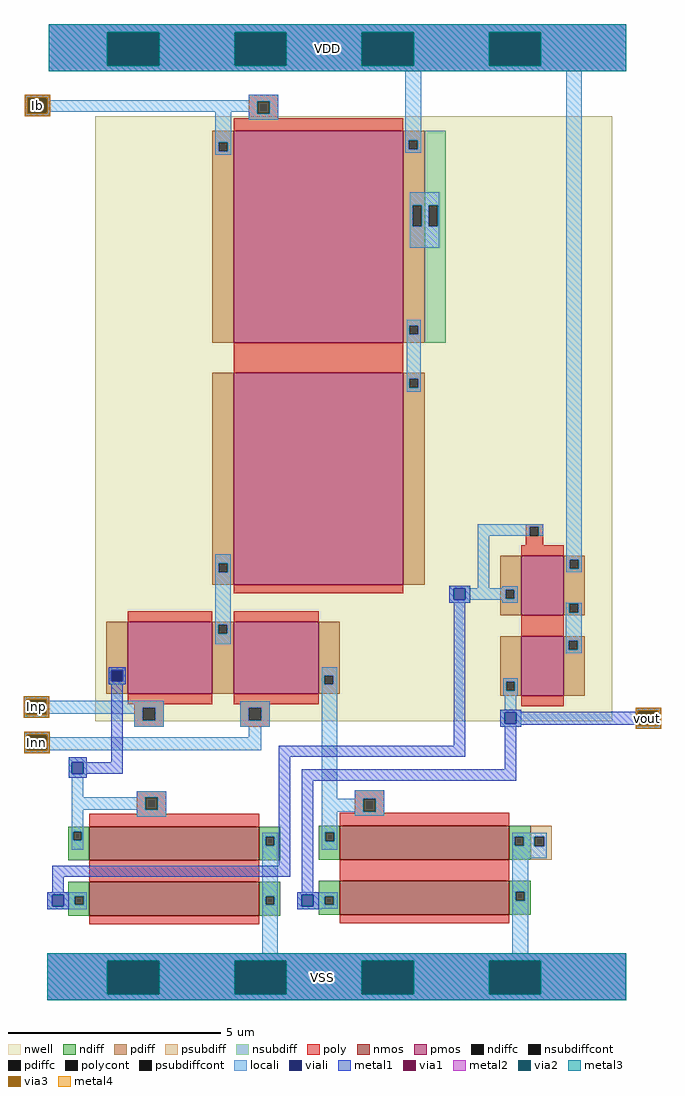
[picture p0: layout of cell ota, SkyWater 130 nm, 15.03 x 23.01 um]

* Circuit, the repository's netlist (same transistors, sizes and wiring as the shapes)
* NGSPICE file created from ota.ext - technology: sky130A

.subckt ota Inp Inn vout Ib VDD VSS
X0 VSS a_6890_1010# a_6890_750# VSS sky130_fd_pr__nfet_01v8 w=800000u l=4e+06u
X1 a_7570_1796# Inp a_6890_1010# VDD sky130_fd_pr__pfet_01v8 w=1.7e+06u l=2e+06u
X2 VSS a_8070_1014# a_8070_1014# VSS sky130_fd_pr__nfet_01v8 w=800000u l=4e+06u
X3 VSS a_6890_1010# a_6890_1010# VSS sky130_fd_pr__nfet_01v8 w=800000u l=4e+06u
X4 VDD a_6890_750# vout VDD sky130_fd_pr__pfet_01v8 w=1.4e+06u l=1e+06u
X5 VDD Ib a_7570_1796# VDD sky130_fd_pr__pfet_01v8 w=5e+06u l=4e+06u
X6 VSS a_8070_1014# vout VSS sky130_fd_pr__nfet_01v8 w=800000u l=4e+06u
X7 VDD a_6890_750# a_6890_750# VDD sky130_fd_pr__pfet_01v8 w=1.4e+06u l=1e+06u
X8 a_8070_1014# Inn a_7570_1796# VDD sky130_fd_pr__pfet_01v8 w=1.7e+06u l=2e+06u
X9 VDD Ib Ib VDD sky130_fd_pr__pfet_01v8 w=5e+06u l=4e+06u
.ends

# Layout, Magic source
magic
tech sky130A
<< nwell >>
rect 3509 833 4727 2260
<< nmos >>
rect 3495 505 3895 585
rect 4085 507 4485 587
rect 3495 375 3895 455
rect 4085 377 4485 457
<< pmos >>
rect 3835 1725 4235 2225
rect 3835 1155 4235 1655
rect 4513 1083 4613 1223
rect 3585 898 3785 1068
rect 3835 898 4035 1068
rect 4513 893 4613 1033
<< ndiff >>
rect 3445 573 3495 585
rect 3445 553 3457 573
rect 3477 553 3495 573
rect 3445 505 3495 553
rect 3895 561 3945 585
rect 3895 540 3910 561
rect 3931 540 3945 561
rect 3895 505 3945 540
rect 4035 571 4085 587
rect 4035 550 4051 571
rect 4072 550 4085 571
rect 4035 507 4085 550
rect 4485 561 4535 587
rect 4485 540 4498 561
rect 4519 540 4535 561
rect 4485 507 4535 540
rect 3445 421 3495 455
rect 3445 400 3460 421
rect 3481 400 3495 421
rect 3445 375 3495 400
rect 3895 421 3945 455
rect 3895 400 3910 421
rect 3931 400 3945 421
rect 3895 375 3945 400
rect 4035 421 4085 457
rect 4035 400 4050 421
rect 4071 400 4085 421
rect 4035 377 4085 400
rect 4485 431 4535 457
rect 4485 410 4500 431
rect 4521 410 4535 431
rect 4485 377 4535 410
<< pdiff >>
rect 3785 2198 3835 2225
rect 3785 2177 3800 2198
rect 3821 2177 3835 2198
rect 3785 1725 3835 2177
rect 4235 2203 4285 2225
rect 4235 2182 4248 2203
rect 4269 2182 4285 2203
rect 4235 2050 4285 2182
rect 4235 2000 4257 2050
rect 4278 2000 4285 2050
rect 4235 1766 4285 2000
rect 4235 1745 4249 1766
rect 4270 1745 4285 1766
rect 4235 1725 4285 1745
rect 3785 1206 3835 1655
rect 3785 1185 3800 1206
rect 3821 1185 3835 1206
rect 3785 1155 3835 1185
rect 4235 1641 4285 1655
rect 4235 1620 4249 1641
rect 4270 1620 4285 1641
rect 4235 1155 4285 1620
rect 4463 1143 4513 1223
rect 4463 1122 4476 1143
rect 4497 1122 4513 1143
rect 4463 1083 4513 1122
rect 4613 1214 4663 1223
rect 4613 1193 4627 1214
rect 4648 1193 4663 1214
rect 4613 1110 4663 1193
rect 4613 1089 4626 1110
rect 4647 1089 4663 1110
rect 4613 1083 4663 1089
rect 3535 951 3585 1068
rect 3535 930 3549 951
rect 3570 930 3585 951
rect 3535 898 3585 930
rect 3785 1061 3835 1068
rect 3785 1040 3799 1061
rect 3820 1040 3835 1061
rect 3785 898 3835 1040
rect 4035 941 4085 1068
rect 4035 920 4049 941
rect 4070 920 4085 941
rect 4035 898 4085 920
rect 4463 926 4513 1033
rect 4463 905 4477 926
rect 4498 905 4513 926
rect 4463 893 4513 905
rect 4613 1023 4663 1033
rect 4613 1002 4625 1023
rect 4646 1002 4663 1023
rect 4613 893 4663 1002
<< ndiffc >>
rect 3457 553 3477 573
rect 3910 540 3931 561
rect 4051 550 4072 571
rect 4498 540 4519 561
rect 3460 400 3481 421
rect 3910 400 3931 421
rect 4050 400 4071 421
rect 4500 410 4521 431
<< pdiffc >>
rect 3800 2177 3821 2198
rect 4248 2182 4269 2203
rect 4257 2000 4278 2050
rect 4249 1745 4270 1766
rect 3800 1185 3821 1206
rect 4249 1620 4270 1641
rect 4476 1122 4497 1143
rect 4627 1193 4648 1214
rect 4626 1089 4647 1110
rect 3549 930 3570 951
rect 3799 1040 3820 1061
rect 4049 920 4070 941
rect 4477 905 4498 926
rect 4625 1002 4646 1023
<< psubdiff >>
rect 4535 561 4585 587
rect 4535 539 4544 561
rect 4567 539 4585 561
rect 4535 507 4585 539
<< nsubdiff >>
rect 4285 2050 4335 2225
rect 4285 2000 4295 2050
rect 4316 2000 4335 2050
rect 4285 1725 4335 2000
<< psubdiffcont >>
rect 4544 539 4567 561
<< nsubdiffcont >>
rect 4295 2000 4316 2050
<< poly >>
rect 3870 2295 3940 2310
rect 3870 2265 3890 2295
rect 3920 2265 3940 2295
rect 3870 2255 3940 2265
rect 3835 2225 4235 2255
rect 3835 1655 4235 1725
rect 4524 1292 4565 1298
rect 4524 1271 4533 1292
rect 4554 1271 4565 1292
rect 4524 1248 4565 1271
rect 4513 1223 4613 1248
rect 3835 1135 4235 1155
rect 3585 1068 3785 1093
rect 3835 1068 4035 1093
rect 4513 1033 4613 1083
rect 3585 873 3785 898
rect 3835 873 4035 898
rect 3600 865 3670 873
rect 3600 835 3620 865
rect 3650 835 3670 865
rect 3600 820 3670 835
rect 3850 865 3920 873
rect 4513 868 4613 893
rect 3850 835 3870 865
rect 3900 835 3920 865
rect 3850 820 3920 835
rect 3606 654 3676 668
rect 3606 624 3626 654
rect 3656 624 3676 654
rect 3606 615 3676 624
rect 4120 650 4190 670
rect 4120 620 4140 650
rect 4170 620 4190 650
rect 4120 617 4190 620
rect 3495 585 3895 615
rect 4085 587 4485 617
rect 3495 455 3895 505
rect 4085 457 4485 507
rect 3495 355 3895 375
rect 4085 357 4485 377
<< polycont >>
rect 3890 2265 3920 2295
rect 4533 1271 4554 1292
rect 3620 835 3650 865
rect 3870 835 3900 865
rect 3626 624 3656 654
rect 4140 620 4170 650
<< locali >>
rect 3399 2458 4760 2477
rect 3399 2379 3537 2458
rect 3659 2379 3837 2458
rect 3959 2379 4137 2458
rect 4259 2379 4437 2458
rect 4559 2379 4760 2458
rect 3399 2366 4760 2379
rect 3342 2303 3402 2310
rect 3342 2267 3348 2303
rect 3396 2297 3402 2303
rect 3870 2297 3940 2310
rect 3396 2295 3940 2297
rect 3396 2270 3890 2295
rect 3396 2267 3402 2270
rect 3342 2260 3402 2267
rect 3792 2198 3829 2270
rect 3870 2265 3890 2270
rect 3920 2265 3940 2295
rect 3870 2251 3940 2265
rect 3792 2177 3800 2198
rect 3821 2177 3829 2198
rect 3792 2169 3829 2177
rect 4240 2203 4277 2366
rect 4240 2182 4248 2203
rect 4269 2182 4277 2203
rect 4240 2174 4277 2182
rect 4250 2050 4320 2080
rect 4250 2000 4257 2050
rect 4278 2000 4295 2050
rect 4316 2000 4320 2050
rect 4250 1950 4320 2000
rect 4243 1766 4276 1780
rect 4243 1745 4249 1766
rect 4270 1745 4276 1766
rect 4243 1641 4276 1745
rect 4243 1620 4249 1641
rect 4270 1620 4276 1641
rect 4243 1610 4276 1620
rect 4410 1292 4565 1298
rect 4410 1271 4533 1292
rect 4554 1271 4565 1292
rect 3791 1206 3828 1227
rect 3791 1185 3800 1206
rect 3821 1185 3828 1206
rect 3791 1061 3828 1185
rect 4343 1147 4393 1153
rect 4410 1147 4437 1271
rect 4619 1214 4656 2366
rect 4619 1193 4627 1214
rect 4648 1193 4656 1214
rect 4619 1184 4656 1193
rect 4468 1147 4505 1152
rect 4343 1120 4354 1147
rect 4381 1143 4505 1147
rect 4381 1122 4476 1143
rect 4497 1122 4505 1143
rect 4381 1120 4505 1122
rect 4343 1113 4393 1120
rect 4468 1112 4505 1120
rect 3791 1040 3799 1061
rect 3820 1040 3828 1061
rect 3791 1015 3828 1040
rect 4618 1110 4655 1113
rect 4618 1089 4626 1110
rect 4647 1089 4655 1110
rect 4618 1023 4655 1089
rect 4618 1002 4625 1023
rect 4646 1002 4655 1023
rect 4618 993 4655 1002
rect 3540 954 3580 960
rect 3540 927 3546 954
rect 3573 927 3580 954
rect 3540 920 3580 927
rect 4042 941 4079 960
rect 4042 920 4049 941
rect 4070 920 4079 941
rect 3340 885 3400 892
rect 3340 849 3346 885
rect 3394 881 3400 885
rect 3394 865 3670 881
rect 3394 851 3620 865
rect 3394 849 3400 851
rect 3340 842 3400 849
rect 3600 835 3620 851
rect 3650 835 3670 865
rect 3600 820 3670 835
rect 3850 865 3920 880
rect 3850 835 3870 865
rect 3900 835 3920 865
rect 3850 820 3920 835
rect 3341 801 3401 808
rect 3341 765 3347 801
rect 3395 795 3401 801
rect 3870 795 3900 820
rect 3395 765 3900 795
rect 3341 758 3401 765
rect 3446 736 3489 748
rect 3446 709 3453 736
rect 3480 709 3489 736
rect 3446 700 3489 709
rect 3453 654 3480 700
rect 3606 654 3676 668
rect 3453 624 3626 654
rect 3656 624 3676 654
rect 3453 573 3480 624
rect 3606 608 3676 624
rect 4042 650 4079 920
rect 4470 926 4505 935
rect 4470 905 4477 926
rect 4498 905 4505 926
rect 4470 895 4505 905
rect 4474 860 4501 895
rect 4463 854 4513 860
rect 4463 827 4474 854
rect 4501 827 4513 854
rect 4463 820 4513 827
rect 4120 650 4190 670
rect 4042 620 4140 650
rect 4170 620 4190 650
rect 3453 553 3457 573
rect 3477 553 3480 573
rect 4042 571 4079 620
rect 4120 610 4190 620
rect 3453 530 3480 553
rect 3902 561 3939 570
rect 3902 540 3910 561
rect 3931 540 3939 561
rect 3396 424 3489 430
rect 3396 397 3407 424
rect 3434 421 3489 424
rect 3434 400 3460 421
rect 3481 400 3489 421
rect 3434 397 3489 400
rect 3396 390 3489 397
rect 3902 421 3939 540
rect 4042 550 4051 571
rect 4072 550 4079 571
rect 4042 530 4079 550
rect 4492 561 4573 570
rect 4492 540 4498 561
rect 4519 540 4544 561
rect 4492 539 4544 540
rect 4567 539 4573 561
rect 4492 510 4573 539
rect 4492 431 4529 510
rect 3902 400 3910 421
rect 3931 400 3939 421
rect 3902 286 3939 400
rect 3985 424 4080 430
rect 3985 397 3996 424
rect 4023 421 4080 424
rect 4023 400 4050 421
rect 4071 400 4080 421
rect 4023 397 4080 400
rect 3985 391 4080 397
rect 4492 410 4500 431
rect 4521 410 4529 431
rect 3985 390 4041 391
rect 4492 286 4529 410
rect 3396 268 4759 286
rect 3396 189 3537 268
rect 3659 189 3837 268
rect 3959 189 4137 268
rect 4259 189 4437 268
rect 4559 189 4759 268
rect 3396 177 4759 189
<< viali >>
rect 3537 2379 3659 2458
rect 3837 2379 3959 2458
rect 4137 2379 4259 2458
rect 4437 2379 4559 2458
rect 3348 2267 3396 2303
rect 4354 1120 4381 1147
rect 3546 951 3573 954
rect 3546 930 3549 951
rect 3549 930 3570 951
rect 3570 930 3573 951
rect 3546 927 3573 930
rect 3346 849 3394 885
rect 3347 765 3395 801
rect 3453 709 3480 736
rect 4474 827 4501 854
rect 3407 397 3434 424
rect 3996 397 4023 424
rect 3537 189 3659 268
rect 3837 189 3959 268
rect 4137 189 4259 268
rect 4437 189 4559 268
<< metal1 >>
rect 3399 2458 4760 2477
rect 3399 2379 3537 2458
rect 3659 2379 3837 2458
rect 3959 2379 4137 2458
rect 4259 2379 4437 2458
rect 4559 2379 4760 2458
rect 3399 2366 4760 2379
rect 3342 2303 3402 2310
rect 3342 2267 3348 2303
rect 3396 2267 3402 2303
rect 3342 2260 3402 2267
rect 4343 1147 4393 1153
rect 4343 1120 4354 1147
rect 4381 1120 4393 1147
rect 4343 1113 4393 1120
rect 3540 954 3580 960
rect 3540 927 3546 954
rect 3573 927 3580 954
rect 3540 920 3580 927
rect 3340 885 3400 892
rect 3340 849 3346 885
rect 3394 849 3400 885
rect 3340 842 3400 849
rect 3341 801 3401 808
rect 3341 765 3347 801
rect 3395 765 3401 801
rect 3341 758 3401 765
rect 3446 736 3489 748
rect 3546 736 3573 920
rect 4354 776 4381 1113
rect 4463 855 4513 860
rect 4783 858 4843 865
rect 4783 855 4788 858
rect 4463 854 4788 855
rect 4463 827 4474 854
rect 4501 827 4788 854
rect 4463 825 4788 827
rect 4463 820 4513 825
rect 4783 822 4788 825
rect 4836 822 4843 858
rect 3446 709 3453 736
rect 3480 709 3573 736
rect 3941 749 4381 776
rect 3446 700 3489 709
rect 3941 493 3968 749
rect 4474 720 4501 820
rect 4783 815 4843 822
rect 3407 466 3968 493
rect 3996 693 4501 720
rect 3407 430 3434 466
rect 3996 430 4023 693
rect 3396 424 3446 430
rect 3396 397 3407 424
rect 3434 397 3446 424
rect 3396 390 3446 397
rect 3985 424 4035 430
rect 3985 397 3996 424
rect 4023 397 4035 424
rect 3985 390 4035 397
rect 3396 268 4759 286
rect 3396 189 3537 268
rect 3659 189 3837 268
rect 3959 189 4137 268
rect 4259 189 4437 268
rect 4559 189 4759 268
rect 3396 177 4759 189
<< via1 >>
rect 3537 2379 3659 2458
rect 3837 2379 3959 2458
rect 4137 2379 4259 2458
rect 4437 2379 4559 2458
rect 3348 2267 3396 2303
rect 3346 849 3394 885
rect 3347 765 3395 801
rect 4788 822 4836 858
rect 3537 189 3659 268
rect 3837 189 3959 268
rect 4137 189 4259 268
rect 4437 189 4559 268
<< metal2 >>
rect 3399 2458 4760 2477
rect 3399 2379 3537 2458
rect 3659 2379 3837 2458
rect 3959 2379 4137 2458
rect 4259 2379 4437 2458
rect 4559 2379 4760 2458
rect 3399 2366 4760 2379
rect 3342 2303 3402 2310
rect 3342 2267 3348 2303
rect 3396 2267 3402 2303
rect 3342 2260 3402 2267
rect 3340 885 3400 892
rect 3340 849 3346 885
rect 3394 849 3400 885
rect 3340 842 3400 849
rect 4783 858 4843 865
rect 4783 822 4788 858
rect 4836 822 4843 858
rect 4783 815 4843 822
rect 3341 801 3401 808
rect 3341 765 3347 801
rect 3395 765 3401 801
rect 3341 758 3401 765
rect 3395 268 4760 286
rect 3395 189 3537 268
rect 3659 189 3837 268
rect 3959 189 4137 268
rect 4259 189 4437 268
rect 4559 189 4760 268
rect 3395 176 4760 189
<< via2 >>
rect 3537 2379 3659 2458
rect 3837 2379 3959 2458
rect 4137 2379 4259 2458
rect 4437 2379 4559 2458
rect 3348 2267 3396 2303
rect 3346 849 3394 885
rect 4788 822 4836 858
rect 3347 765 3395 801
rect 3537 189 3659 268
rect 3837 189 3959 268
rect 4137 189 4259 268
rect 4437 189 4559 268
<< metal3 >>
rect 3399 2458 4760 2477
rect 3399 2379 3537 2458
rect 3659 2379 3837 2458
rect 3959 2379 4137 2458
rect 4259 2379 4437 2458
rect 4559 2379 4760 2458
rect 3399 2366 4760 2379
rect 3342 2303 3402 2310
rect 3342 2267 3348 2303
rect 3396 2267 3402 2303
rect 3342 2260 3402 2267
rect 3340 885 3400 892
rect 3340 849 3346 885
rect 3394 849 3400 885
rect 3340 842 3400 849
rect 4783 858 4843 865
rect 4783 822 4788 858
rect 4836 822 4843 858
rect 4783 815 4843 822
rect 3341 801 3401 808
rect 3341 765 3347 801
rect 3395 765 3401 801
rect 3341 758 3401 765
rect 3395 268 4760 286
rect 3395 189 3537 268
rect 3659 189 3837 268
rect 3959 189 4137 268
rect 4259 189 4437 268
rect 4559 189 4760 268
rect 3395 176 4760 189
<< via3 >>
rect 3348 2267 3396 2303
rect 3346 849 3394 885
rect 4788 822 4836 858
rect 3347 765 3395 801
<< metal4 >>
rect 3342 2303 3402 2310
rect 3342 2267 3348 2303
rect 3396 2267 3402 2303
rect 3342 2260 3402 2267
rect 3340 885 3400 892
rect 3340 849 3346 885
rect 3394 849 3400 885
rect 3340 842 3400 849
rect 4783 858 4843 865
rect 4783 822 4788 858
rect 4836 822 4843 858
rect 4783 815 4843 822
rect 3341 801 3401 808
rect 3341 765 3347 801
rect 3395 765 3401 801
rect 3341 758 3401 765
<< labels >>
flabel metal3 3967 179 4121 278 0 FreeSans 240 0 0 0 VSS
port 5 nsew
flabel metal3 3984 2368 4128 2470 0 FreeSans 240 0 0 0 VDD
port 4 nsew
flabel metal4 3346 764 3396 801 0 FreeSans 240 0 0 0 Inn
port 2 nsew
flabel metal4 3346 849 3394 885 0 FreeSans 240 0 0 0 Inp
port 1 nsew
flabel metal4 3347 2263 3398 2305 0 FreeSans 240 0 0 0 Ib
port 6 nsew
flabel metal4 4787 822 4835 858 0 FreeSans 160 0 0 0 vout
port 3 nsew
<< end >>
